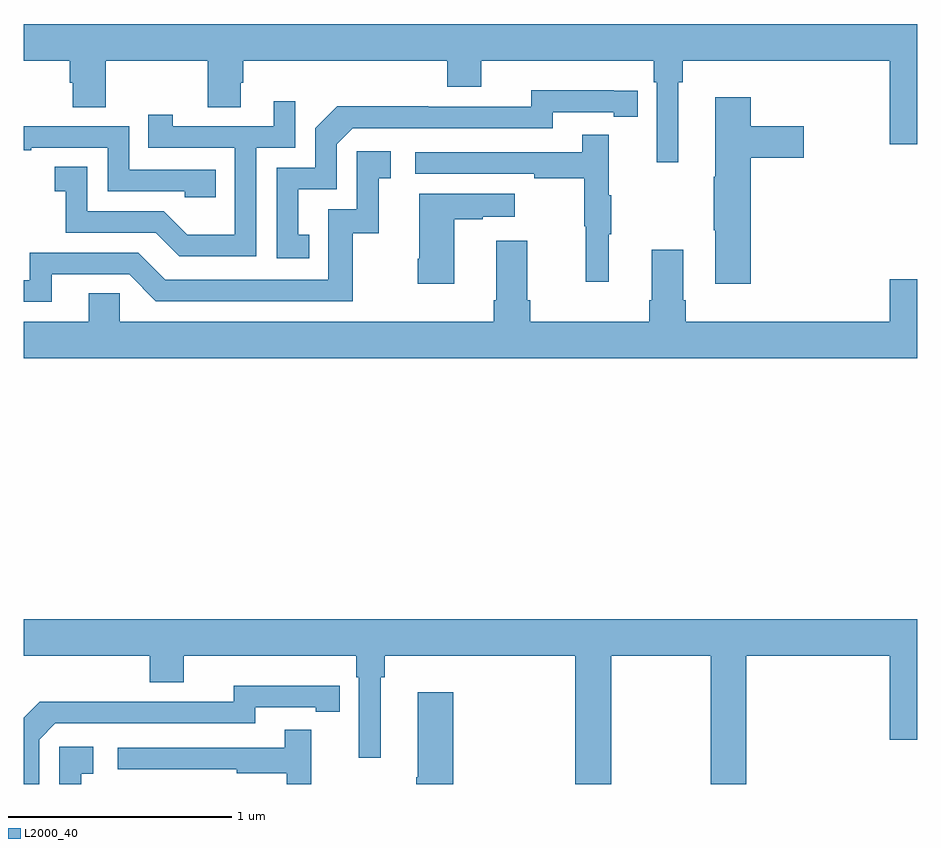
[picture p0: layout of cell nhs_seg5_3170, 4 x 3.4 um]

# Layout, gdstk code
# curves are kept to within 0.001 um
import gdstk
lib = gdstk.Library(unit=1e-6, precision=1e-09)
def P(c, l, *ps):  # polygons
    for p in ps: c.add(gdstk.Polygon(p, *l))
L2000_40 = (2000, 40)

nhs_seg5_3170 = lib.new_cell('nhs_seg5_3170')
P(nhs_seg5_3170, L2000_40, [(295.93,913.94),(295.949,913.94),(295.949,914.036),(296.876,914.036),(296.876,913.662),(297,913.662),(297,914.2),(293,914.2),(293,914.036),(293.207,914.036),(293.207,913.938),(293.219,913.938),(293.219,913.828),(293.367,913.828),(293.367,914.036),(293.824,914.036),(293.824,913.828),(293.971,913.828),(293.971,913.938),(293.984,913.938),(293.984,914.036),(294.896,914.036),(294.896,913.919),(295.048,913.919),(295.048,914.036),(295.82,914.036),(295.82,913.94),(295.833,913.94),(295.833,913.581),(295.93,913.581)],
  [(294.278,913.257),(294.229,913.257),(294.229,913.461),(294.402,913.461),(294.402,913.662),(294.474,913.734),(295.368,913.734),(295.368,913.806),(295.64,913.806),(295.64,913.786),(295.748,913.786),(295.748,913.902),(295.272,913.903),(295.272,913.83),(294.812,913.83),(294.812,913.832),(294.404,913.832),(294.306,913.734),(294.306,913.557),(294.132,913.557),(294.132,913.152),(294.278,913.152)],
  [(296.255,913.601),(296.491,913.601),(296.491,913.743),(296.255,913.743),(296.255,913.873),(296.096,913.873),(296.096,913.517),(296.089,913.517),(296.089,913.276),(296.096,913.276),(296.096,913.038),(296.255,913.038)],
  [(294.042,913.647),(294.216,913.647),(294.216,913.855),(294.119,913.855),(294.119,913.743),(293.668,913.743),(293.668,913.795),(293.557,913.795),(293.557,913.647),(293.946,913.647),(293.946,913.258),(293.732,913.258),(293.628,913.362),(293.286,913.362),(293.286,913.561),(293.139,913.561),(293.139,913.451),(293.188,913.451),(293.188,913.266),(293.591,913.266),(293.696,913.161),(294.042,913.161)],
  [(293.861,913.548),(293.472,913.548),(293.472,913.743),(293,913.743),(293,913.635),(293.035,913.635),(293.035,913.647),(293.376,913.647),(293.376,913.452),(293.721,913.452),(293.721,913.425),(293.861,913.425)],
  [(295.619,913.259),(295.63,913.259),(295.63,913.433),(295.619,913.433),(295.619,913.705),(295.501,913.705),(295.501,913.626),(294.753,913.626),(294.753,913.53),(295.285,913.53),(295.285,913.51),(295.509,913.51),(295.509,913.296),(295.516,913.296),(295.516,913.047),(295.619,913.047)],
  [(293.125,913.08),(293.472,913.08),(293.592,912.96),(294.472,912.96),(294.472,913.263),(294.59,913.263),(294.59,913.509),(294.643,913.509),(294.643,913.63),(294.492,913.63),(294.492,913.371),(294.363,913.371),(294.363,913.056),(293.634,913.056),(293.514,913.176),(293.028,913.176),(293.028,913.053),(293,913.053),(293,912.957),(293.125,912.957)],
  [(294.928,913.327),(295.055,913.327),(295.055,913.337),(295.198,913.337),(295.198,913.441),(294.77,913.441),(294.77,913.15),(294.763,913.15),(294.763,913.038),(294.928,913.038)],
  [(297,913.057),(296.876,913.057),(296.876,912.868),(295.964,912.868),(295.964,912.964),(295.951,912.964),(295.951,913.189),(295.811,913.189),(295.811,912.964),(295.799,912.964),(295.799,912.868),(295.268,912.868),(295.268,912.964),(295.255,912.964),(295.255,913.231),(295.115,913.231),(295.115,912.964),(295.103,912.964),(295.103,912.868),(293.43,912.868),(293.43,912.995),(293.291,912.995),(293.291,912.868),(293,912.868),(293,912.704),(297,912.704)],
  [(295.629,911.372),(296.074,911.372),(296.074,910.799),(296.234,910.799),(296.234,911.372),(296.876,911.372),(296.876,910.998),(297,910.998),(297,911.536),(293,911.536),(293,911.372),(293.564,911.372),(293.564,911.255),(293.716,911.255),(293.716,911.372),(294.488,911.372),(294.488,911.276),(294.501,911.276),(294.501,910.917),(294.598,910.917),(294.598,911.276),(294.617,911.276),(294.617,911.372),(295.469,911.372),(295.469,910.799),(295.629,910.799)],
  [(293.07,910.998),(293.142,911.07),(294.036,911.07),(294.036,911.142),(294.308,911.142),(294.308,911.122),(294.416,911.122),(294.416,911.238),(293.94,911.239),(293.94,911.166),(293.48,911.166),(293.48,911.168),(293.072,911.168),(293,911.096),(293,910.799),(293.07,910.799)],
  [(294.923,911.209),(294.764,911.209),(294.764,910.829),(294.757,910.829),(294.757,910.799),(294.923,910.799)],
  [(294.287,911.041),(294.169,911.041),(294.169,910.962),(293.421,910.962),(293.421,910.866),(293.953,910.866),(293.953,910.846),(294.177,910.846),(294.177,910.799),(294.287,910.799)],
  [(293.258,910.845),(293.311,910.845),(293.311,910.966),(293.16,910.966),(293.16,910.799),(293.258,910.799)])

lib.write_gds('nhs_seg5_3170.gds')
